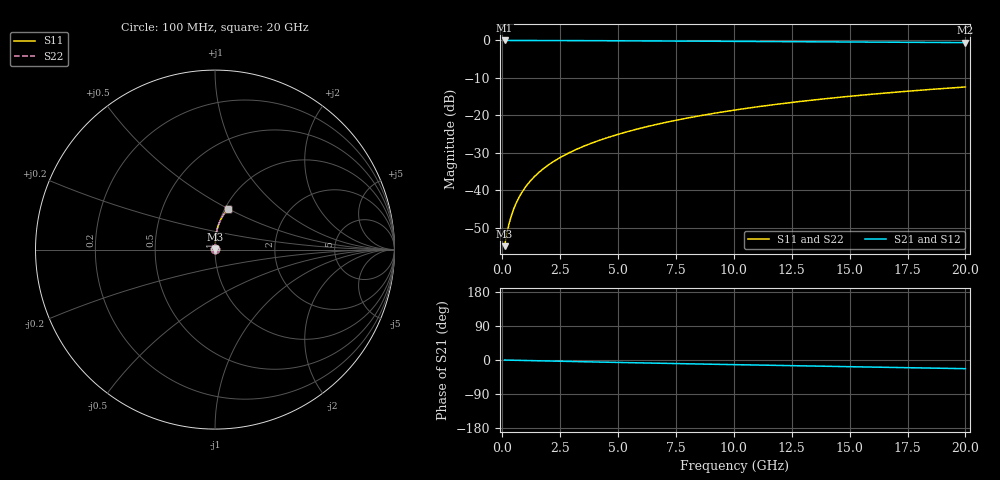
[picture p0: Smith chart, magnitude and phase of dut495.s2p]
! Touchstone file exported from HFSS 2024.1.0
!  File:  C:/UserFiles/LocalFiles/RDL_TSV_Batchsim/temp_RDL_bottom_495_1779686980.aedt
!  Generated:  01:31:57 PM May 25, 2026
!  Design:  RDL_bottom
!  Project:  temp_RDL_bottom_495_1779686980
!  Setup:  Setup1
!  Solution:  Sweep
! Variables:
!  dtsv = 10.80580581um
!  hbump = 3um
!  htsv = 54.51um
!  ldown = 308.35um
!  lrdl = 100um
!  p = 40
!  p1 = 47.64um
!  rhole = 1um
!  t = 450um
!  tdown = 4.53um
!  trdl = 3.915915916um
!  wdown = 20.37um
!  wrdl = 20um
# GHz S MA R 50.000000
! Terminal data exported
! Port[1] = RDL1_T1
! Port[2] = RDL1_T2
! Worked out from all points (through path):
!   200 points, 100 MHz to 20 GHz, reference 50 ohm
!   highest |S21| = -0.01 dB at 100 MHz (marker M1); lowest = -0.6 dB at 20 GHz (marker M2)
!   group delay of S21, straight-line fit = 3.15 ps
!   lowest |S11| = -55.0 dB at 100 MHz (marker M3), VSWR 1.00, Z = 50.1 + j0.117 ohm
!   |S11| at or under -10 dB: start of sweep to end of sweep
!   |S22| runs from -55.0 to -12.4 dB; largest |S21 - S12| = 3e-15
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0.1  0.001783 41.1  0.9987 -0.1  0.9987 -0.1  0.001783 41.1
! Gamma 0 0 0 0
! Port Impedance 50 0 50 0
0.2  0.002664 58.1  0.9986 -0.3  0.9986 -0.3  0.002665 58.1
0.3  0.003629 66.5  0.9985 -0.4  0.9985 -0.4  0.00363 66.5
0.4  0.004636 71.6  0.9984 -0.5  0.9984 -0.5  0.004636 71.6
0.5  0.005667 74.9  0.9983 -0.7  0.9983 -0.7  0.005667 74.9
0.6  0.006713 77.2  0.9982 -0.8  0.9982 -0.8  0.006713 77.2
0.8  0.00883 80.2  0.9981 -1.1  0.9981 -1.1  0.00883 80.2
1.1  0.01204 82.7  0.9978 -1.5  0.9978 -1.5  0.01204 82.7
1.5  0.01635 84.5  0.9973 -2.0  0.9973 -2.0  0.01635 84.5
1.8  0.0196 85.3  0.9968 -2.4  0.9968 -2.4  0.0196 85.3
2.1  0.02286 85.9  0.9963 -2.8  0.9963 -2.8  0.02286 85.9
2.7  0.02944 86.6  0.9951 -3.6  0.9951 -3.6  0.02944 86.6
3.5  0.03836 87.1  0.9931 -4.6  0.9931 -4.6  0.03836 87.1
4.2  0.04632 87.3  0.9912 -5.5  0.9912 -5.5  0.04632 87.3
5  0.0556 87.3  0.9887 -6.5  0.9887 -6.5  0.0556 87.3
5.9  0.06627 87.0  0.9857 -7.6  0.9857 -7.6  0.06627 87.0
6.8  0.07715 86.5  0.9826 -8.6  0.9826 -8.6  0.07715 86.5
8.4  0.09689 85.3  0.977 -10.5  0.977 -10.5  0.09689 85.4
10.1  0.1182 83.7  0.9709 -12.4  0.9709 -12.4  0.1182 83.8
13.4  0.1595 80.1  0.959 -16.0  0.959 -16.0  0.1596 80.1
16.7  0.2 76.3  0.947 -19.5  0.947 -19.5  0.2 76.3
20  0.2388 72.5  0.9346 -22.9  0.9346 -22.9  0.2388 72.5
